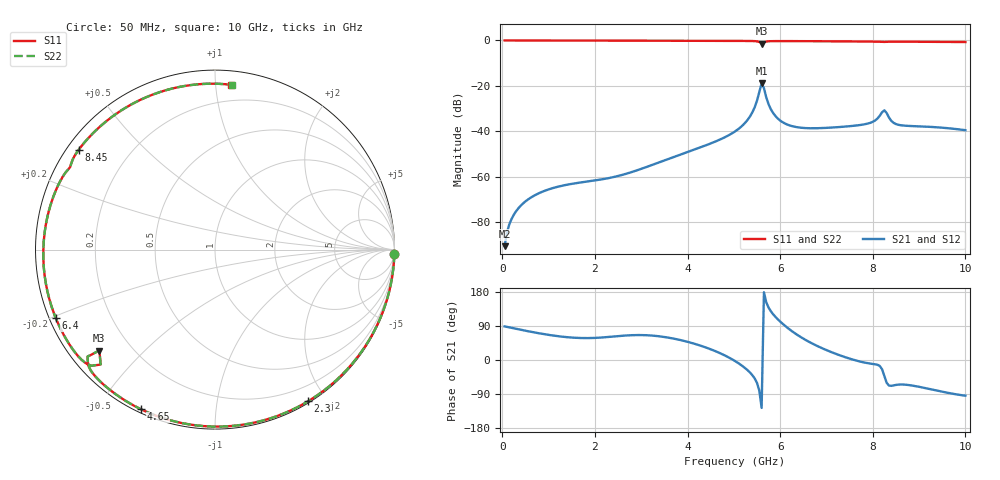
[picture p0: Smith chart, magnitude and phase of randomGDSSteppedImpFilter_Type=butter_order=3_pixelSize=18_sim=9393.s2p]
! freq	dB(S11)	phase(S11)	dB(S12)	phase(S12)
!  dB(S21)	phase(S21)	dB(S22)	phase(S22)
!S-par simulation data
#  GHz  S  DB  R 50
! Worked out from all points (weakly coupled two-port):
!   200 points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, 50 MHz to 10 GHz, reference 50 ohm
!   highest |S21| = -18.89 dB at 5.6 GHz (marker M1); lowest = -90.7 dB at 50 MHz (marker M2)
!   lowest |S11| = -1.4 dB at 5.6 GHz (marker M3), VSWR 12.82, Z = 4.45 - j18.6 ohm
!   |S11| at or under -10 dB: nowhere
!   |S22| runs from -1.4 to 0.0 dB; largest |S21 - S12| = 0
!   S11 on the Smith chart (normalised r, x): 50 MHz: 1, -87; 2.3 GHz: 0.02, -1.79; 4.65 GHz: 0.01, -0.64; 6.4 GHz: 0.02, -0.20; 8.45 GHz: 0.03, +0.33; 10 GHz: 0.09, +1.10
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0.05  -0.00 -1.3  -90.73 88.7  -90.73 88.7  -0.00 -1.3
0.15  -0.01 -3.9  -81.20 86.1  -81.20 86.1  -0.01 -3.9
0.4  -0.01 -10.4  -72.83 79.8  -72.83 79.8  -0.01 -10.4
0.75  -0.02 -19.4  -67.77 71.5  -67.77 71.5  -0.02 -19.4
1.75  -0.06 -44.8  -62.46 57.9  -62.46 57.9  -0.06 -44.8
2.3  -0.07 -58.5  -60.70 60.8  -60.70 60.8  -0.07 -58.5
3.4  -0.11 -85.2  -53.67 62.4  -53.67 62.4  -0.11 -85.2
4.65  -0.17 -115.0  -44.16 20.8  -44.16 20.8  -0.17 -115.0
5.05  -0.20 -124.7  -39.78 -4.6  -39.78 -4.6  -0.20 -124.8
5.4  -0.26 -134.1  -31.70 -40.1  -31.70 -40.1  -0.26 -134.2
5.5  -0.39 -137.7  -26.57 -60.4  -26.57 -60.4  -0.39 -137.8
5.6  -1.36 -138.9  -18.89 -126.4  -18.89 -126.4  -1.36 -138.9
5.75  -0.36 -138.8  -28.14 138.3  -28.14 138.3  -0.36 -138.8
5.9  -0.29 -143.5  -33.39 113.6  -33.39 113.6  -0.29 -143.6
6.4  -0.30 -156.9  -38.37 63.9  -38.37 63.9  -0.30 -156.9
6.7  -0.33 -164.8  -38.72 43.1  -38.72 43.1  -0.33 -164.8
7.9  -0.47 160.9  -36.62 -8.5  -36.62 -8.5  -0.47 160.7
8.25  -0.64 150.2  -30.80 -42.0  -30.80 -42.0  -0.64 150.1
8.35  -0.54 147.3  -33.98 -67.5  -33.98 -67.5  -0.54 147.1
8.45  -0.52 143.7  -36.33 -67.0  -36.33 -67.0  -0.52 143.6
9.3  -0.62 112.7  -38.18 -78.5  -38.18 -78.5  -0.62 112.5
10  -0.70 84.4  -39.58 -94.2  -39.58 -94.2  -0.70 84.1
